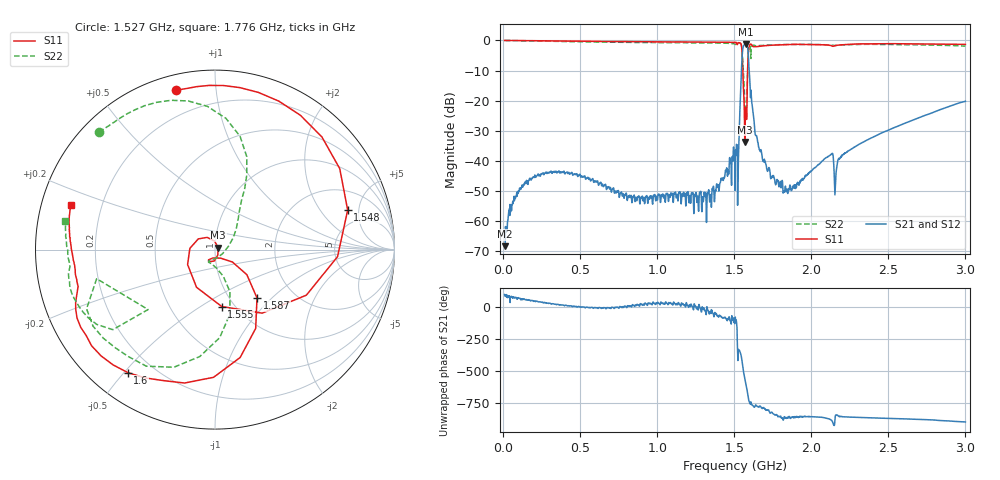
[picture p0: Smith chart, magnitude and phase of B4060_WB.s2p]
! Matrix data file written by TouchstoneData, EPCOS AG
! FILENAME: "B4060_WB.s2p"
! COMMENT: "11 Jan 2006 S11-PORTEX1 84PS;PORTEX2 170PS;"
! INFO: nport=2, nfreq=1601
! DATE: "Tue Jul 22 16:32:40 2008"
! USER: "Aleksander Breg"
! port | pin | signal
!  1  |  6  |  input
!  2  |  2  |  output
# MHZ S MA R 50
! freq  magS11 angS11  magS21 angS21  magS12 angS12  magS22 angS22
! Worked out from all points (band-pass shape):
!   1601 points, 10 MHz to 3 GHz, reference 50 ohm
!   highest |S21| = -1.24 dB at 1.574 GHz (marker M1); lowest = -68.3 dB at 10 MHz (marker M2)
!   |S21| within 3 dB of the highest: 1.553 GHz to 1.591 GHz (38.13 MHz wide, 2.43 % of centre)
!   lowest |S11| = -33.7 dB at 1.569 GHz (marker M3), VSWR 1.04, Z = 51.8 + j1.15 ohm
!   |S11| at or under -10 dB: 1.556 GHz to 1.587 GHz (31.22 MHz wide, 1.99 % of centre)
!   |S22| runs from -26.4 to 0.0 dB; largest |S21 - S12| = 0.0056
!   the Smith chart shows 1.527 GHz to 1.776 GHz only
!   S11 on the Smith chart (normalised r, x): 1.527 GHz: 0.07, +0.78; 1.548 GHz: 3.48, +3.78; 1.555 GHz: 0.87, -0.62; 1.587 GHz: 1.32, -0.82; 1.6 GHz: 0.11, -0.51; 1.776 GHz: 0.09, +0.15
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10  0.9992 -2.0  0.000383 95.4  0.0003825 94.4  0.9994 -2.6
51.1125  0.9983 -10.2  0.001659 78.0  0.001645 77.7  0.9971 -13.2
142.6813  0.9947 -28.4  0.004446 56.8  0.004429 56.9  0.9909 -36.2
508.9563  0.9717 -93.0  0.005635 -0.9  0.005645 -0.7  0.9497 -107.6
1007.913  0.9475 -156.5  0.002811 28.3  0.00281 28.2  0.9216 -161.2
1333.075  0.9378 168.6  0.003237 -34.2  0.00322 -34.3  0.9098 173.4
1505  0.914 126.4  0.003238 -96.0  0.00324 -96.0  0.8678 147.7
1527.425  0.9141 103.7  0.01143 23.2  0.01139 23.3  0.9192 134.7
1547.981  0.7713 16.6  0.3728 -41.9  0.3725 -41.8  0.7993 93.1
1555.456  0.3192 -83.3  0.7247 -108.4  0.7243 -108.4  0.453 67.0
1568.537  0.02063 32.5  0.8621 159.1  0.8615 159.1  0.0765 13.4
1574.144  0.07264 -112.2  0.8668 125.8  0.8653 125.8  0.06247 -111.8
1587.225  0.3568 -49.0  0.7626 39.4  0.76 39.4  0.3679 -76.9
1600.306  0.8399 -125.3  0.2366 -30.3  0.2353 -30.0  0.7939 -141.5
1617.125  0.815 -161.2  0.08037 -47.1  0.08009 -46.8  0.8212 -157.1
1648.894  0.7916 -176.2  0.02362 -57.9  0.02349 -57.7  0.8157 -175.3
1775.969  0.8412 162.7  0.004773 -123.7  0.004774 -123.3  0.8481 169.2
2003.956  0.8558 143.9  0.006896 -138.2  0.006915 -138.1  0.8569 156.7
2127.294  0.8219 135.9  0.01278 -162.8  0.0128 -162.7  0.8388 151.6
2160.931  0.8272 137.3  0.006399 -124.0  0.006429 -124.0  0.8254 151.7
2502.912  0.8837 116.3  0.03257 -151.8  0.03275 -151.2  0.8588 140.9
3000  0.859 83.0  0.09754 -179.6  0.09696 179.4  0.8027 124.2
